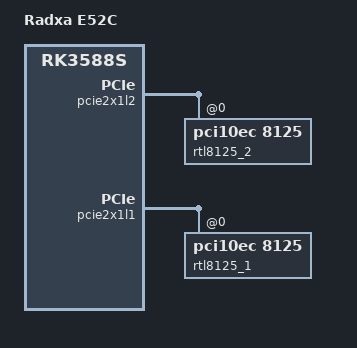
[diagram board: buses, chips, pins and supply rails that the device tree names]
// SPDX-License-Identifier: (GPL-2.0+ OR MIT)
/*
 * Copyright (c) 2026 jjm2473
 *
 */

/dts-v1/;

#include <rockchip/rk3582-radxa-e52c.dts>
#include "rk3588s-ip.dtsi"
#include "rk3588s-ip-supply.dtsi"

#include "rk3588-ramoops.dtsi"

/ {
	model = "Radxa E52C";
	compatible = "radxa,e52c", "rockchip,rk3588s";

	aliases {
		ethernet0 = &rtl8125_1;
		ethernet1 = &rtl8125_2;
	};
};

/* PCIe */
#define ETH_LED_SPEED_INDICATOR

&pcie2x1l2 { // pcie@fe190000
	pcie@40 {
		reg = <0x00400000 0 0 0 0>;
		#address-cells = <3>;
		#size-cells = <2>;

		rtl8125_2: pcie-eth@40,0 {
			compatible = "pci10ec,8125";
			reg = <0x000000 0 0 0 0>;

			// LED0 => G+ , LED1 => G- , LED2 => Y-
#ifndef ETH_LED_SPEED_INDICATOR
			// Option 1
			// LED0=High active, blink on every speed act
			// LED1=Low active, always on every speed link
			// LED2=LED1
			realtek,led-data = <0x1200 0x2b 0x2b 0>;
#else
			// Option 2
			// LED0=High active, blink on all act, always on 10/100/2500 link
			// LED1=Low active, always on every speed link
			// LED2=Low active, always on 1000/2500
			realtek,led-data = <0x1223 0x2b 0x28 0>;
			realtek,led-feature = /bits/ 8 <0xc1>;
#endif
		};
	};
};

&pcie2x1l1 { // pcie@fe180000
	pcie@30 {
		reg = <0x00300000 0 0 0 0>;
		#address-cells = <3>;
		#size-cells = <2>;

		rtl8125_1: pcie-eth@30,0 {
			compatible = "pci10ec,8125";
			reg = <0x000000 0 0 0 0>;
			// LED0 => G+ , LED1 => G- , LED2 => Y-
#ifndef ETH_LED_SPEED_INDICATOR
			// Option 1
			// LED0=High active, blink on every speed act
			// LED1=Low active, always on every speed link
			// LED2=LED1
			realtek,led-data = <0x1200 0x2b 0x2b 0>;
#else
			// Option 2
			// LED0=High active, blink on all act, always on 10/100/2500 link
			// LED1=Low active, always on every speed link
			// LED2=Low active, always on 1000/2500
			realtek,led-data = <0x1223 0x2b 0x28 0>;
			realtek,led-feature = /bits/ 8 <0xc1>;
#endif
		};
	};
};
